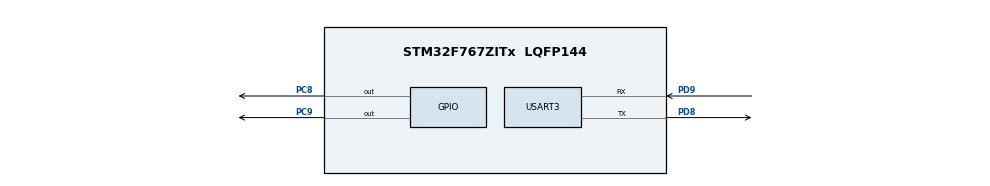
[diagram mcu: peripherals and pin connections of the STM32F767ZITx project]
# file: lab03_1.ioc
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Mcu.Family=STM32F7
Mcu.Name=STM32F767ZITx
Mcu.Package=LQFP144
NVIC.PriorityGroup=NVIC_PRIORITYGROUP_4
PC8.Signal=GPIO_Output
PC9.Signal=GPIO_Output
PD8.Mode=Asynchronous
PD8.Signal=USART3_TX
PD9.Mode=Asynchronous
PD9.Signal=USART3_RX
ProjectManager.HeapSize=0x200
ProjectManager.StackSize=0x400
ProjectManager.TargetToolchain=STM32CubeIDE
RCC.HSE_VALUE=25000000
RCC.HSI_VALUE=16000000
RCC.LSE_VALUE=32768
RCC.USBFreq_Value=96000000
RCC.VCOOutputFreq_Value=192000000
USART3.VirtualMode-Asynchronous=VM_ASYNC
board=custom

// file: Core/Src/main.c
/* USER CODE BEGIN Header */
/**
 ******************************************************************************
 * @file           : main.c
 * @brief          : Main program body
 ******************************************************************************
 * @attention
 *
 * Copyright (c) 2022 STMicroelectronics.
 * All rights reserved.
 *
 * This software is licensed under terms that can be found in the LICENSE file
 * in the root directory of this software component.
 * If no LICENSE file comes with this software, it is provided AS-IS.
 *
 ******************************************************************************
 */
/* USER CODE END Header */
#include "main.h"
#include "usart.h"
#include "gpio.h"

/* USER CODE BEGIN Includes */
#include "string.h"
/* USER CODE END Includes */

void SystemClock_Config(void);

int main(void) {

	/* MCU Configuration--------------------------------------------------------*/

	/* Reset of all peripherals, Initializes the Flash interface and the Systick. */
	HAL_Init();

	/* Configure the system clock */
	SystemClock_Config();

	/* Initialize all configured peripherals */
	MX_GPIO_Init();
	MX_USART3_UART_Init();
	/* USER CODE BEGIN 2 */

	char texth[] = "Display Blinking LED PRESS (1, 2)\n\rDisplay Group Members PRESS m\n\rQuit PRESS q\n\r";
	HAL_UART_Transmit(&huart3, (uint8_t*) &texth, strlen(texth), 1000);
	HAL_GPIO_WritePin(GPIOC, GPIO_PIN_8, 1);
	HAL_GPIO_WritePin(GPIOC, GPIO_PIN_9, 1);
	//
	/* USER CODE END 2 */

	/* Infinite loop */
	while (1) {

		/* USER CODE BEGIN 3 */
// ************************************ 1 *************************************
//	  char ch1[] = "Hello World !";
//	  while(__HAL_UART_GET_FLAG(&huart3,UART_FLAG_TC)==RESET){}
//	  HAL_UART_Transmit(&huart3, (uint8_t*) &ch1, strlen(ch1), 1000);
//	  HAL_Delay(500);
// ************************************ 1 *************************************
// ************************************ 2 *************************************
//	  char ch1 = 'a';
//	  char l[] = "\n\r";
//while(__HAL_UART_GET_FLAG(&huart3,UART_FLAG_RXNE)== RESET){}
//	  HAL_UART_Transmit(&huart3, (uint8_t*) &ch1, 1, 1000);
//	  HAL_UART_Receive(&huart3, (uint8_t*) &ch1, 1, 1000);
//  while(__HAL_UART_GET_FLAG(&huart3,UART_FLAG_TC)==RESET){}
//	  HAL_UART_Transmit(&huart3, (uint8_t*) &ch1, 1, 1000);
//	  HAL_UART_Transmit(&huart3, (uint8_t*) &l, strlen(l), 1000);
//	  HAL_Delay(500);
// ************************************ 2 *************************************
// ************************************ 3 *************************************
//		char in[] = "Input =>";
//		char ch1;
//		char line[] = "\n\r";
//		char exit[] = "QUIT";
//		HAL_UART_Transmit(&huart3, (uint8_t*) in, strlen(in), 1000);
//
//		while (__HAL_UART_GET_FLAG(&huart3, UART_FLAG_RXNE) == RESET) {
//		}
//		HAL_UART_Receive(&huart3, (uint8_t*) &ch1, 1, 1000);
//
//		while (__HAL_UART_GET_FLAG(&huart3, UART_FLAG_TC) == RESET) {
//		}
//		HAL_UART_Transmit(&huart3, (uint8_t*) &ch1, 1, 1000);
//		HAL_UART_Transmit(&huart3, (uint8_t*) &line, 2, 1000);
//
//		if (ch1 == 'q') {
//			HAL_UART_Transmit(&huart3, (uint8_t*) &exit, strlen(exit), 1000);
//			break;
//		}
//		HAL_Delay(100);
// ************************************ 3 *************************************
// ************************************ 4 *************************************
		char in[] = "\t input =>";
//		char texth[] = "Display Blinking LED PRESS (1, 2)\n\rDisplay Group Members PRESS m\n\rQuit PRESS q\n\r";
		char line[] = "\n\r";
		char qit[] = "\t QUIT";
		char ch1;
		char name[] = "\t 63010042\n\r\t Kirttiphoom Teainnagrm\n\r";
		char no[] = "\t Unknown Command\n\r";
//		HAL_UART_Transmit(&huart3, (uint8_t*) &texth, strlen(texth), 1000);
		HAL_UART_Transmit(&huart3, (uint8_t*) in, strlen(in), 1000);
//
		while (__HAL_UART_GET_FLAG(&huart3, UART_FLAG_RXNE) == RESET) {
		}
		HAL_UART_Receive(&huart3, (uint8_t*) &ch1, 1, 1000);
//
		while (__HAL_UART_GET_FLAG(&huart3, UART_FLAG_TC) == RESET) {
		}
		HAL_UART_Transmit(&huart3, (uint8_t*) &ch1, 1, 1000);
		HAL_UART_Transmit(&huart3, (uint8_t*) &line, 2, 1000);

		if(ch1 == 'm'){
			HAL_UART_Transmit(&huart3, (uint8_t*) &name, strlen(name), 1000);
		}
		else if(ch1 == '1'){
			for (uint8_t i = 0;i < 3;i++ ){
			HAL_GPIO_WritePin(GPIOC, GPIO_PIN_8, 0);
			HAL_Delay(300);
			HAL_GPIO_WritePin(GPIOC, GPIO_PIN_8, 1);
			HAL_Delay(300);
			}
		}
		else if(ch1 == '2'){
			for (uint8_t i = 0;i < 3;i++ ){
			HAL_GPIO_WritePin(GPIOC, GPIO_PIN_9, 0);
			HAL_Delay(300);
			HAL_GPIO_WritePin(GPIOC, GPIO_PIN_9, 1);
			HAL_Delay(300);
			}
		}
		else if (ch1 == 'q') {
			HAL_UART_Transmit(&huart3, (uint8_t*) &qit, strlen(qit), 1000);
			break;
		}
		else{
			HAL_UART_Transmit(&huart3, (uint8_t*) &no, strlen(no), 1000);
		}
		HAL_Delay(500);
// ************************************ 4 *************************************

	}
	/* USER CODE END 3 */
}

void SystemClock_Config(void) {
	RCC_OscInitTypeDef RCC_OscInitStruct = { 0 };
	RCC_ClkInitTypeDef RCC_ClkInitStruct = { 0 };

	/** Configure the main internal regulator output voltage
	 */
	__HAL_RCC_PWR_CLK_ENABLE();
	__HAL_PWR_VOLTAGESCALING_CONFIG(PWR_REGULATOR_VOLTAGE_SCALE3);

	/** Initializes the RCC Oscillators according to the specified parameters
	 * in the RCC_OscInitTypeDef structure.
	 */
	RCC_OscInitStruct.OscillatorType = RCC_OSCILLATORTYPE_HSI;
	RCC_OscInitStruct.HSIState = RCC_HSI_ON;
	RCC_OscInitStruct.HSICalibrationValue = RCC_HSICALIBRATION_DEFAULT;
	RCC_OscInitStruct.PLL.PLLState = RCC_PLL_NONE;
	if (HAL_RCC_OscConfig(&RCC_OscInitStruct) != HAL_OK) {
		Error_Handler();
	}

	/** Initializes the CPU, AHB and APB buses clocks
	 */
	RCC_ClkInitStruct.ClockType = RCC_CLOCKTYPE_HCLK | RCC_CLOCKTYPE_SYSCLK
			| RCC_CLOCKTYPE_PCLK1 | RCC_CLOCKTYPE_PCLK2;
	RCC_ClkInitStruct.SYSCLKSource = RCC_SYSCLKSOURCE_HSI;
	RCC_ClkInitStruct.AHBCLKDivider = RCC_SYSCLK_DIV1;
	RCC_ClkInitStruct.APB1CLKDivider = RCC_HCLK_DIV1;
	RCC_ClkInitStruct.APB2CLKDivider = RCC_HCLK_DIV1;

	if (HAL_RCC_ClockConfig(&RCC_ClkInitStruct, FLASH_LATENCY_0) != HAL_OK) {
		Error_Handler();
	}
}

void Error_Handler(void) {
	__disable_irq();
	while (1) {
	}
}
